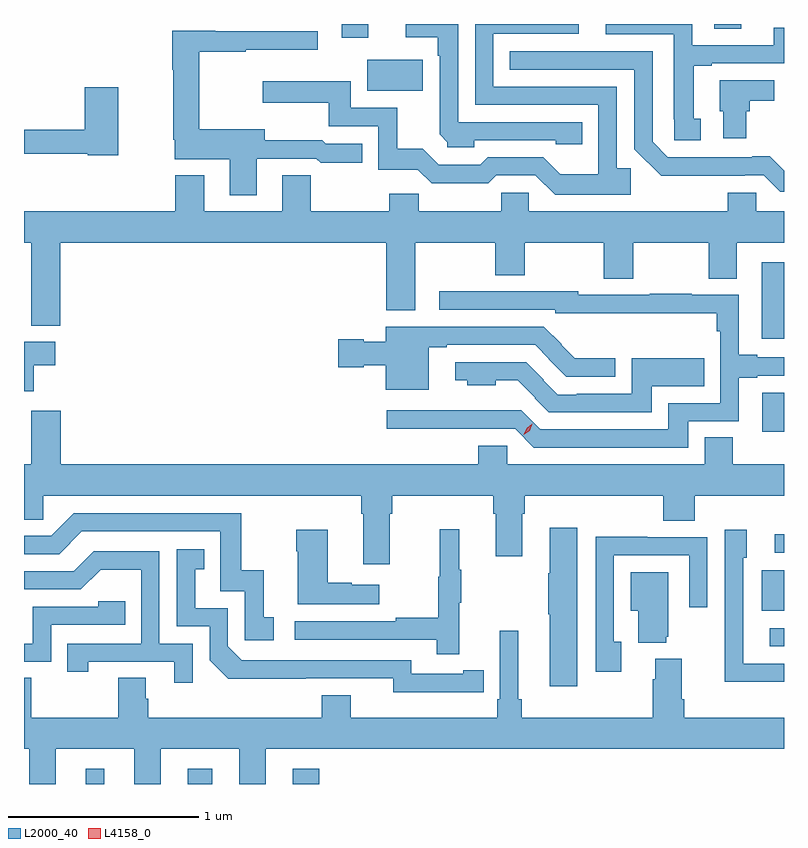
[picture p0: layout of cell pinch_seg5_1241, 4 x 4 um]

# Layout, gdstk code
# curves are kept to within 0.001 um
import gdstk
lib = gdstk.Library(unit=1e-6, precision=1e-09)
def R(c, l, rs):  # rectangles x0, y0, x1, y1
    for r in rs: c.add(gdstk.rectangle(r[:2], r[2:], *l))
def P(c, l, *ps):  # polygons
    for p in ps: c.add(gdstk.Polygon(p, *l))
L2000_40 = (2000, 40)
L4158_0 = (4158, 0)

pinch_seg5_1241 = lib.new_cell('pinch_seg5_1241')
R(pinch_seg5_1241, L2000_40, [(483.686,849.914,483.784,849.994), (484.223,849.914,484.351,849.994), (484.775,849.914,484.916,849.994), (487.287,850.638,487.361,850.734), (487.244,850.826,487.361,851.038), (487.311,851.13,487.361,851.228), (487.247,851.768,487.361,851.974), (487.244,852.257,487.361,852.661), (485.167,853.562,485.46,853.726), (485.033,853.842,485.173,853.914), (486.995,853.888,487.135,853.914)])
P(pinch_seg5_1241, L2000_40, [(486.554,853.154),(486.48,853.154),(486.48,853.584),(485.832,853.584),(485.832,853.862),(486.28,853.862),(486.28,853.914),(485.736,853.914),(485.736,853.488),(486.384,853.488),(486.384,853.122),(486.183,853.122),(486.093,853.212),(485.802,853.212),(485.763,853.173),(485.544,853.173),(485.46,853.257),(485.325,853.257),(485.325,853.473),(485.082,853.473),(485.082,853.612),(484.617,853.612),(484.617,853.499),(484.966,853.499),(484.966,853.377),(485.226,853.377),(485.226,853.148),(485.434,853.148),(485.506,853.077),(485.804,853.077),(485.847,853.119),(486.053,853.119),(486.156,853.016),(486.554,853.016)],
  [(485.732,853.302),(486.159,853.302),(486.159,853.281),(486.299,853.281),(486.299,853.398),(485.646,853.398),(485.646,853.914),(485.37,853.914),(485.37,853.845),(485.538,853.845),(485.538,853.748),(485.55,853.748),(485.55,853.432),(485.548,853.432),(485.548,853.333),(485.589,853.292),(485.589,853.266),(485.732,853.266)],
  [(486.922,853.415),(486.886,853.415),(486.886,853.695),(486.982,853.695),(486.982,853.707),(487.361,853.707),(487.361,853.894),(487.307,853.894),(487.307,853.803),(486.879,853.803),(486.879,853.914),(486.423,853.914),(486.423,853.86),(486.782,853.86),(486.782,853.414),(486.784,853.414),(486.784,853.302),(486.922,853.302)],
  [(484.585,853.206),(484.899,853.206),(484.922,853.184),(485.141,853.184),(485.141,853.284),(484.95,853.284),(484.931,853.303),(484.627,853.303),(484.627,853.359),(484.284,853.359),(484.284,853.767),(484.529,853.767),(484.529,853.778),(484.906,853.778),(484.906,853.875),(484.367,853.875),(484.367,853.878),(484.142,853.878),(484.142,853.672),(484.147,853.672),(484.147,853.306),(484.154,853.306),(484.154,853.202),(484.445,853.202),(484.445,853.014),(484.585,853.014)],
  [(487.361,853.141),(487.285,853.217),(487.193,853.217),(487.193,853.212),(486.75,853.212),(486.669,853.293),(486.669,853.77),(485.917,853.77),(485.917,853.674),(486.573,853.674),(486.573,853.256),(486.714,853.115),(487.154,853.115),(487.154,853.119),(487.254,853.119),(487.341,853.032),(487.361,853.032)],
  [(487.162,853.455),(487.18,853.455),(487.18,853.509),(487.31,853.509),(487.31,853.617),(487.022,853.617),(487.022,853.455),(487.04,853.455),(487.04,853.314),(487.162,853.314)],
  [(483.858,853.582),(483.68,853.582),(483.68,853.358),(483.361,853.358),(483.361,853.23),(483.696,853.23),(483.696,853.222),(483.858,853.222)],
  [(483.551,852.764),(485.267,852.764),(485.267,852.407),(485.419,852.407),(485.419,852.764),(485.842,852.764),(485.842,852.592),(485.997,852.592),(485.997,852.764),(486.412,852.764),(486.412,852.574),(486.567,852.574),(486.567,852.764),(486.964,852.764),(486.964,852.574),(487.111,852.574),(487.111,852.764),(487.361,852.764),(487.361,852.928),(487.215,852.928),(487.215,853.026),(487.064,853.026),(487.064,852.928),(486.018,852.928),(486.018,853.026),(485.873,853.026),(485.873,852.928),(485.438,852.928),(485.438,853.021),(485.284,853.021),(485.284,852.928),(484.869,852.928),(484.869,853.118),(484.721,853.118),(484.721,852.928),(484.309,852.928),(484.309,853.117),(484.157,853.117),(484.157,852.928),(483.361,852.928),(483.361,852.764),(483.398,852.764),(483.398,852.327),(483.551,852.327)],
  [(486.856,851.823),(487.122,851.823),(487.122,852.051),(487.219,852.051),(487.219,852.063),(487.361,852.063),(487.361,852.159),(487.219,852.159),(487.219,852.172),(487.122,852.172),(487.122,852.489),(486.875,852.489),(486.875,852.494),(486.655,852.494),(486.655,852.489),(486.279,852.489),(486.279,852.507),(485.547,852.507),(485.547,852.411),(486.156,852.411),(486.156,852.391),(487.006,852.391),(487.006,852.296),(487.026,852.296),(487.026,851.919),(486.752,851.919),(486.752,851.781),(486.078,851.781),(485.979,851.88),(485.271,851.88),(485.271,851.783),(485.946,851.784),(486.045,851.685),(486.856,851.685)],
  [(485.491,852.213),(485.587,852.213),(485.587,852.225),(486.051,852.225),(486.124,852.152),(486.122,852.15),(486.215,852.057),(486.472,852.057),(486.472,852.156),(486.26,852.156),(486.097,852.321),(485.264,852.321),(485.264,852.241),(485.148,852.241),(485.148,852.254),(485.016,852.254),(485.016,852.107),(485.148,852.107),(485.148,852.119),(485.264,852.119),(485.264,851.99),(485.491,851.99)],
  [(483.412,852.119),(483.526,852.119),(483.526,852.241),(483.361,852.241),(483.361,851.981),(483.412,851.981)],
  [(486.664,852.008),(486.94,852.008),(486.94,852.154),(486.56,852.154),(486.56,851.967),(486.271,851.967),(486.271,851.964),(486.171,851.964),(486.095,852.04),(486.097,852.042),(486.004,852.135),(485.631,852.135),(485.631,852.038),(485.694,852.038),(485.694,852.014),(485.844,852.014),(485.844,852.038),(485.959,852.038),(486.051,851.946),(486.049,851.944),(486.122,851.871),(486.664,851.871)],
  [(485.287,851.336),(485.3,851.336),(485.3,851.432),(485.831,851.432),(485.831,851.336),(485.843,851.336),(485.843,851.112),(485.983,851.112),(485.983,851.336),(485.996,851.336),(485.996,851.432),(486.725,851.432),(486.725,851.299),(486.89,851.299),(486.89,851.432),(487.361,851.432),(487.361,851.596),(487.092,851.596),(487.092,851.738),(486.944,851.738),(486.944,851.596),(485.904,851.596),(485.904,851.694),(485.753,851.694),(485.753,851.596),(483.554,851.596),(483.554,851.878),(483.398,851.878),(483.398,851.596),(483.361,851.596),(483.361,851.305),(483.462,851.305),(483.462,851.432),(485.135,851.432),(485.135,851.336),(485.147,851.336),(485.147,851.07),(485.287,851.07)],
  [(484.675,850.791),(484.622,850.791),(484.622,851.038),(484.504,851.038),(484.504,851.34),(483.624,851.34),(483.504,851.22),(483.361,851.22),(483.361,851.124),(483.546,851.124),(483.666,851.244),(484.395,851.244),(484.395,850.929),(484.524,850.929),(484.524,850.671),(484.675,850.671)],
  [(486.274,851.263),(486.128,851.263),(486.128,851.024),(486.121,851.024),(486.121,850.807),(486.128,850.807),(486.128,850.428),(486.274,850.428)],
  [(485.651,850.867),(485.662,850.867),(485.662,851.041),(485.651,851.041),(485.651,851.254),(485.548,851.254),(485.548,851.004),(485.541,851.004),(485.541,850.79),(485.317,850.79),(485.317,850.77),(484.785,850.77),(484.785,850.674),(485.533,850.674),(485.533,850.596),(485.651,850.596)],
  [(485.23,850.963),(485.087,850.963),(485.087,850.973),(484.96,850.973),(484.96,851.251),(484.795,851.251),(484.795,851.138),(484.802,851.138),(484.802,850.859),(485.23,850.859)],
  [(487.361,850.548),(487.147,850.548),(487.147,850.76),(487.146,850.76),(487.146,851.106),(487.165,851.106),(487.165,851.251),(487.05,851.251),(487.05,850.757),(487.048,850.757),(487.048,850.451),(487.361,850.451)],
  [(486.505,850.662),(486.465,850.662),(486.465,851.118),(486.861,851.118),(486.861,850.845),(486.957,850.845),(486.957,851.214),(486.641,851.214),(486.641,851.216),(486.369,851.216),(486.369,850.506),(486.505,850.506)],
  [(485.672,850.398),(485.78,850.398),(485.78,850.514),(485.672,850.514),(485.672,850.494),(485.4,850.494),(485.4,850.566),(484.506,850.566),(484.434,850.638),(484.434,850.839),(484.261,850.839),(484.261,851.043),(484.31,851.043),(484.31,851.149),(484.164,851.149),(484.164,850.743),(484.338,850.743),(484.338,850.566),(484.436,850.469),(485.304,850.47),(485.304,850.397)],
  [(484.248,850.653),(484.074,850.653),(484.074,851.139),(483.728,851.139),(483.623,851.034),(483.361,851.034),(483.361,850.938),(483.66,850.938),(483.764,851.042),(483.978,851.042),(483.978,850.653),(483.589,850.653),(483.589,850.506),(483.7,850.506),(483.7,850.557),(484.151,850.557),(484.151,850.446),(484.248,850.446)],
  [(486.74,850.689),(486.751,850.689),(486.751,851.029),(486.554,851.029),(486.554,850.826),(486.593,850.826),(486.593,850.658),(486.74,850.658)],
  [(483.504,850.752),(483.893,850.752),(483.893,850.875),(483.753,850.875),(483.753,850.848),(483.408,850.848),(483.408,850.653),(483.361,850.653),(483.361,850.557),(483.504,850.557)],
  [(483.529,850.1),(483.941,850.1),(483.941,849.914),(484.081,849.914),(484.081,850.1),(484.493,850.1),(484.493,849.914),(484.633,849.914),(484.633,850.1),(487.361,850.1),(487.361,850.264),(486.836,850.264),(486.836,850.36),(486.823,850.36),(486.823,850.573),(486.683,850.573),(486.683,850.466),(486.671,850.466),(486.671,850.264),(485.981,850.264),(485.981,850.36),(485.962,850.36),(485.962,850.72),(485.865,850.72),(485.865,850.36),(485.852,850.36),(485.852,850.264),(485.08,850.264),(485.08,850.381),(484.928,850.381),(484.928,850.264),(484.016,850.264),(484.016,850.362),(484.003,850.362),(484.003,850.472),(483.856,850.472),(483.856,850.264),(483.399,850.264),(483.399,850.472),(483.361,850.472),(483.361,850.1),(483.389,850.1),(483.389,849.914),(483.529,849.914)])
P(pinch_seg5_1241, L4158_0, [(485.991,851.753),(485.991,851.753),(486.007,851.787),(486.037,851.809),(486.037,851.809),(486.037,851.809),(486.022,851.774),(485.992,851.753)])

lib.write_gds('pinch_seg5_1241.gds')
